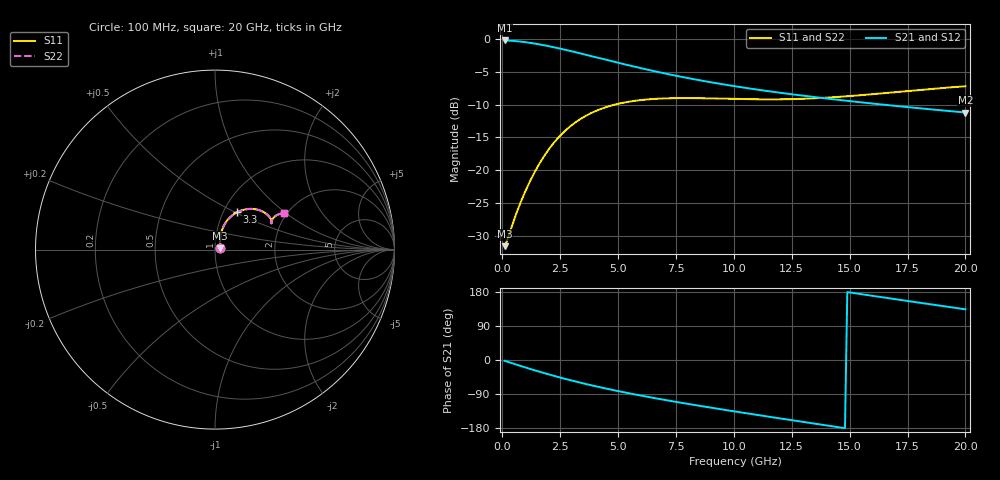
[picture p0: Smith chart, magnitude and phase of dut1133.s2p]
! Touchstone file exported from HFSS 2024.1.0
!  File:  C:/UserFiles/LocalFiles/RDL_TSV_Batchsim/temp_RDL_TSV_1133_1780111049.aedt
!  Generated:  11:34:33 AM May 30, 2026
!  Design:  RDL_TSV
!  Project:  temp_RDL_TSV_1133_1780111049
!  Setup:  Setup1
!  Solution:  Sweep
! Variables:
!  dtsv = 8.08um
!  hbump = 3um
!  htsv = 94.83um
!  ldown = 225.43um
!  lrdl = 577.52um
!  p = 40
!  p1 = 59.77um
!  rhole = 10um
!  subl = 2986.37um
!  t = 450um
!  tdown = 3.45um
!  trdl = 2.4um
!  viad = 10um
!  wdown = 16.05um
!  wrdl = 16.39um
!  xbump = 18um
# GHz S MA R 50.000000
! Terminal data exported
! Port[1] = TM1_1_T1
! Port[2] = TM1_4_T1
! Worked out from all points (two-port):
!   200 points, 100 MHz to 20 GHz, reference 50 ohm
!   highest |S21| = -0.23 dB at 100 MHz (marker M1); lowest = -11.2 dB at 20 GHz (marker M2)
!   |S21| within 3 dB of the highest: start of sweep to 4.548 GHz
!   lowest |S11| = -31.6 dB at 100 MHz (marker M3), VSWR 1.05, Z = 52.6 + j0.685 ohm
!   |S11| at or under -10 dB: start of sweep to 4.861 GHz
!   |S22| runs from -31.6 to -7.2 dB; largest |S21 - S12| = 5.5e-14
!   S11 on the Smith chart (normalised r, x): 100 MHz: 1.05, +0.01; 3.3 GHz: 1.16, +0.51; 20 GHz: 1.94, +0.97
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0.1  0.02643 14.2  0.9741 -2.0  0.9741 -2.0  0.02644 14.2
! Gamma 0 0 0 0
! Port Impedance 50 0 50 0
0.2  0.02901 26.4  0.9729 -4.1  0.9729 -4.1  0.02901 26.4
0.5  0.04164 48.8  0.9656 -10.1  0.9656 -10.1  0.04164 48.7
0.9  0.06335 62.5  0.9498 -17.9  0.9498 -17.9  0.06335 62.5
1.2  0.08275 67.6  0.9342 -23.5  0.9342 -23.5  0.08274 67.6
1.6  0.1121 70.1  0.9095 -30.9  0.9095 -30.9  0.1121 70.1
2  0.1437 69.6  0.8816 -37.9  0.8816 -37.9  0.1437 69.6
2.4  0.1757 67.3  0.8518 -44.6  0.8518 -44.6  0.1756 67.3
2.8  0.2063 64.1  0.8209 -51.1  0.8209 -51.1  0.2062 64.1
3.3  0.241 59.5  0.782 -58.8  0.782 -58.8  0.2408 59.5
3.5  0.2535 57.6  0.7666 -61.7  0.7666 -61.7  0.2533 57.6
4.2  0.2906 51.1  0.7143 -71.6  0.7143 -71.6  0.2903 51.1
5.1  0.3235 43.6  0.6527 -83.3  0.6527 -83.3  0.3231 43.6
5.9  0.3412 38.1  0.6042 -92.9  0.6042 -92.9  0.3408 38.1
6.8  0.3514 33.2  0.5568 -103.0  0.5568 -103.0  0.3509 33.2
8.3  0.3544 27.8  0.4927 -118.7  0.4927 -118.7  0.3538 27.8
10.1  0.3491 25.1  0.4349 -136.3  0.4349 -136.3  0.3486 25.1
11.7  0.3468 25.3  0.3957 -151.4  0.3957 -151.4  0.3463 25.3
13.4  0.3527 26.9  0.3624 -167.1  0.3624 -167.1  0.3523 26.9
15  0.3673 28.4  0.3364 178.3  0.3364 178.3  0.367 28.4
16.7  0.3896 29.1  0.3127 162.9  0.3127 162.9  0.3894 29.2
20  0.4364 27.5  0.2754 133.7  0.2754 133.7  0.4363 27.5
